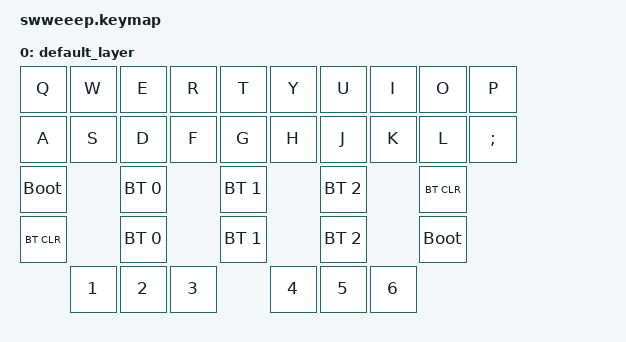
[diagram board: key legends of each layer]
#include <behaviors.dtsi>
#include <dt-bindings/zmk/keys.h>
#include <dt-bindings/zmk/bt.h>

// try tossing in a bunch of includes from filippo's config
#include <dt-bindings/zmk/mouse.h>
#include <dt-bindings/zmk/mouse_settings.h>
#include <behaviors/mouse_keys.dtsi>
#include <behaviors/mouse_setting.dtsi>


/ {
    keymap {
        compatible = "zmk,keymap";

        default_layer {
            bindings = <
&kp Q  &kp W &kp E &kp R &kp T   &kp Y &kp U &kp I &kp O &kp P
&kp A  &kp S &kp D &kp F &kp G   &kp H &kp J &kp K &kp L &kp SEMI
&bootloader &bt BT_SEL 0 &bt BT_SEL 1 &bt BT_SEL 2 &bt BT_CLR
&bt BT_CLR  &bt BT_SEL 0 &bt BT_SEL 1 &bt BT_SEL 2 &bootloader
          &kp N1 &kp N2 &kp N3   &kp N4 &kp N5 &kp N6
            >;
        };
    };
};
